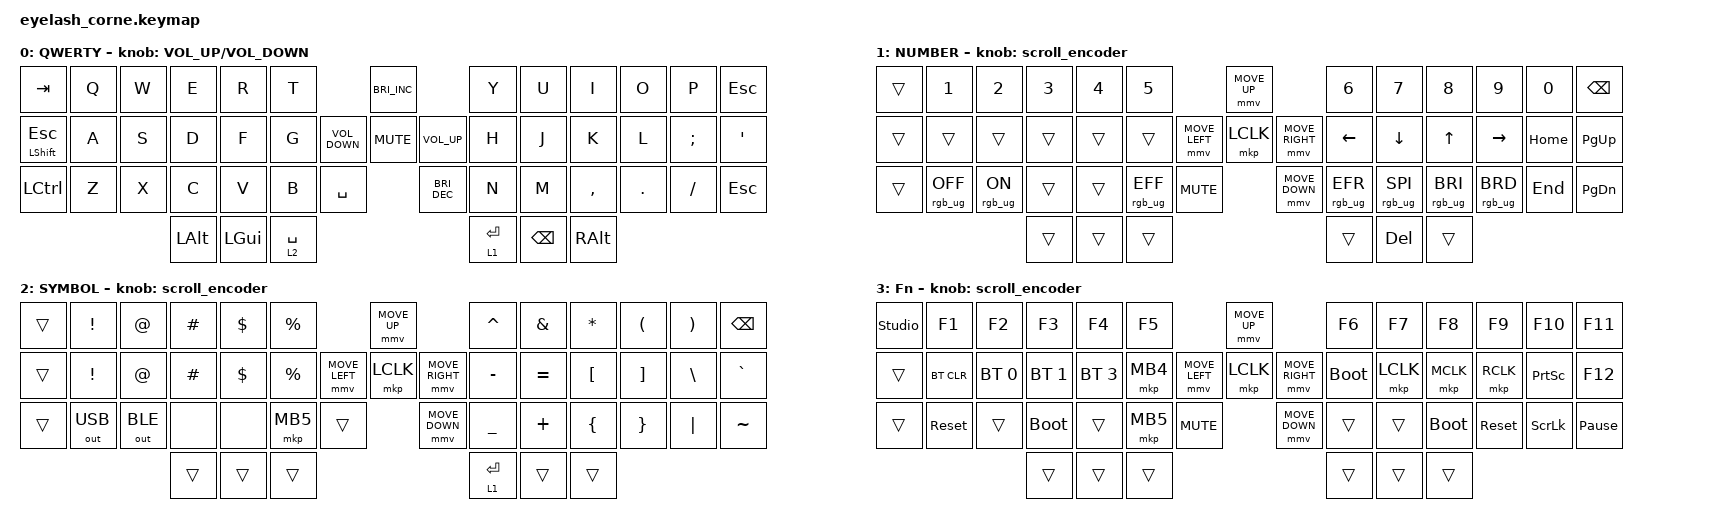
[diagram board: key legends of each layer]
#define ZMK_POINTING_DEFAULT_MOVE_VAL 1200  // 600
#define ZMK_POINTING_DEFAULT_SCRL_VAL 25   // 10

#include <input/processors.dtsi>
#include <zephyr/dt-bindings/input/input-event-codes.h>
#include <behaviors.dtsi>
#include <dt-bindings/zmk/bt.h>
#include <dt-bindings/zmk/keys.h>
#include <dt-bindings/zmk/outputs.h>
#include <dt-bindings/zmk/pointing.h>
#include <dt-bindings/zmk/rgb.h>

&mmv_input_listener { input-processors = <&zip_xy_scaler 2 1>; };

&msc_input_listener { input-processors = <&zip_scroll_scaler 2 1>; };

&msc {
    acceleration-exponent = <1>;      // 0
    time-to-max-speed-ms = <100>;       // 300
    delay-ms = <0>;                   // 0
};

&mmv {
    time-to-max-speed-ms = <500>;
    acceleration-exponent = <1>;
    trigger-period-ms = <16>;
};

&soft_off { hold-time-ms = <2000>; };

/ {
    behaviors {
        td0: td0 {
            compatible = "zmk,behavior-tap-dance";
            display-name = "Shift/Caps Lock Tap Dance";
            #binding-cells = <0>;
            bindings = <&kp LEFT_SHIFT>, <&kp CAPS>;
        };

        shift_escape: shift_escape {
            compatible = "zmk,behavior-hold-tap";
            label = "SHIFT_ESCAPE";
            bindings = <&mt>, <&kp>;

            #binding-cells = <2>;
            tapping-term-ms = <140>;
            flavor = "tap-preferred";
        };

        layer_thingy: layer_thingy {
            compatible = "zmk,behavior-hold-tap";
            label = "LAYER_THINGY";
            bindings = <&lt>, <&kp>;

            #binding-cells = <2>;
            tapping-term-ms = <140>;
        };
    };

    rgb_encoder: rgb_encoder {
        compatible = "zmk,behavior-sensor-rotate";
        #sensor-binding-cells = <0>;
        bindings = <&rgb_ug RGB_BRI>, <&rgb_ug RGB_BRD>;
    };

    scroll_encoder: scroll_encoder {
        compatible = "zmk,behavior-sensor-rotate";
        #sensor-binding-cells = <0>;
        bindings = <&msc SCRL_DOWN>, <&msc SCRL_UP>;

        tap-ms = <100>;
    };

    combos {
        compatible = "zmk,combos";

        softoff {
            bindings = <&soft_off>;
            key-positions = <1 15 29>;
        };
    };

    keymap {
        compatible = "zmk,keymap";

        default_layer {
            display-name = "QWERTY";
            bindings = <
&kp TAB                &kp Q  &kp W  &kp E     &kp R     &kp T                                        &kp C_BRIGHTNESS_INC                   &kp Y        &kp U          &kp I      &kp O    &kp P     &kp ESC
&mt LEFT_SHIFT ESCAPE  &kp A  &kp S  &kp D     &kp F     &kp G                     &kp C_VOLUME_DOWN  &kp K_MUTE            &kp C_VOLUME_UP  &kp H        &kp J          &kp K      &kp L    &kp SEMI  &kp SQT
&kp LCTRL              &kp Z  &kp X  &kp C     &kp V     &kp B        &kp SPACE                       &kp C_BRIGHTNESS_DEC                   &kp N        &kp M          &kp COMMA  &kp DOT  &kp FSLH  &kp ESC
                                     &kp LALT  &kp LGUI  &lt 2 SPACE                                                                         &lt 1 ENTER  &kp BACKSPACE  &kp RALT
            >;

            sensor-bindings = <&inc_dec_kp C_VOLUME_UP C_VOLUME_DOWN>;
        };

        lower_layer {
            display-name = "NUMBER";
            bindings = <
&trans  &kp N1           &kp N2          &kp N3  &kp N4  &kp N5                                         &mmv MOVE_UP                     &kp N6           &kp N7           &kp N8           &kp N9           &kp N0    &kp BSPC
&trans  &trans           &trans          &trans  &trans  &trans                         &mmv MOVE_LEFT  &mkp LCLK       &mmv MOVE_RIGHT  &kp LEFT         &kp DOWN         &kp UP           &kp RIGHT        &kp HOME  &kp PG_UP
&trans  &rgb_ug RGB_OFF  &rgb_ug RGB_ON  &trans  &trans  &rgb_ug RGB_EFF  &kp C_MUTE                    &mmv MOVE_DOWN                   &rgb_ug RGB_EFR  &rgb_ug RGB_SPI  &rgb_ug RGB_BRI  &rgb_ug RGB_BRD  &kp END   &kp PG_DN
                                         &trans  &trans  &trans                                                                          &trans           &kp DEL          &trans
            >;

            sensor-bindings = <&scroll_encoder>;
        };

        raise_layer {
            display-name = "SYMBOL";
            bindings = <
&trans  &kp EXCL         &kp AT        &kp HASH   &kp DLLR    &kp PRCNT                              &mmv MOVE_UP                     &kp CARET    &kp AMPS   &kp ASTRK  &kp LPAR  &kp RPAR  &kp BSPC
&trans  &kp EXCLAMATION  &kp AT        &kp POUND  &kp DOLLAR  &kp PERCENT            &mmv MOVE_LEFT  &mkp LCLK       &mmv MOVE_RIGHT  &kp MINUS    &kp EQUAL  &kp LBKT   &kp RBKT  &kp BSLH  &kp GRAVE
&trans  &out OUT_USB     &out OUT_BLE  &none      &none       &mkp MB5     &trans                    &mmv MOVE_DOWN                   &kp UNDER    &kp PLUS   &kp LBRC   &kp RBRC  &kp PIPE  &kp TILDE
                                       &trans     &trans      &trans                                                                  &lt 1 ENTER  &trans     &trans
            >;

            sensor-bindings = <&scroll_encoder>;
        };

        layer_3 {
            display-name = "Fn";
            bindings = <
&studio_unlock  &kp F1      &kp F2        &kp F3        &kp F4        &kp F5                                  &mmv MOVE_UP                     &kp F6       &kp F7     &kp F8       &kp F9      &kp F10          &kp F11
&trans          &bt BT_CLR  &bt BT_SEL 0  &bt BT_SEL 1  &bt BT_SEL 3  &mkp MB4                &mmv MOVE_LEFT  &mkp LCLK       &mmv MOVE_RIGHT  &bootloader  &mkp LCLK  &mkp MCLK    &mkp RCLK   &kp PRINTSCREEN  &kp F12
&trans          &sys_reset  &trans        &bootloader   &trans        &mkp MB5  &kp C_MUTE                    &mmv MOVE_DOWN                   &trans       &trans     &bootloader  &sys_reset  &kp SCROLLLOCK   &kp PAUSE_BREAK
                                          &trans        &trans        &trans                                                                   &trans       &trans     &trans
            >;

            sensor-bindings = <&scroll_encoder>;
        };
    };

    conditional_layers {
        compatible = "zmk,conditional-layers";

        adjust {
            if-layers = <1 2>;
            then-layer = <3>;
        };
    };
};
